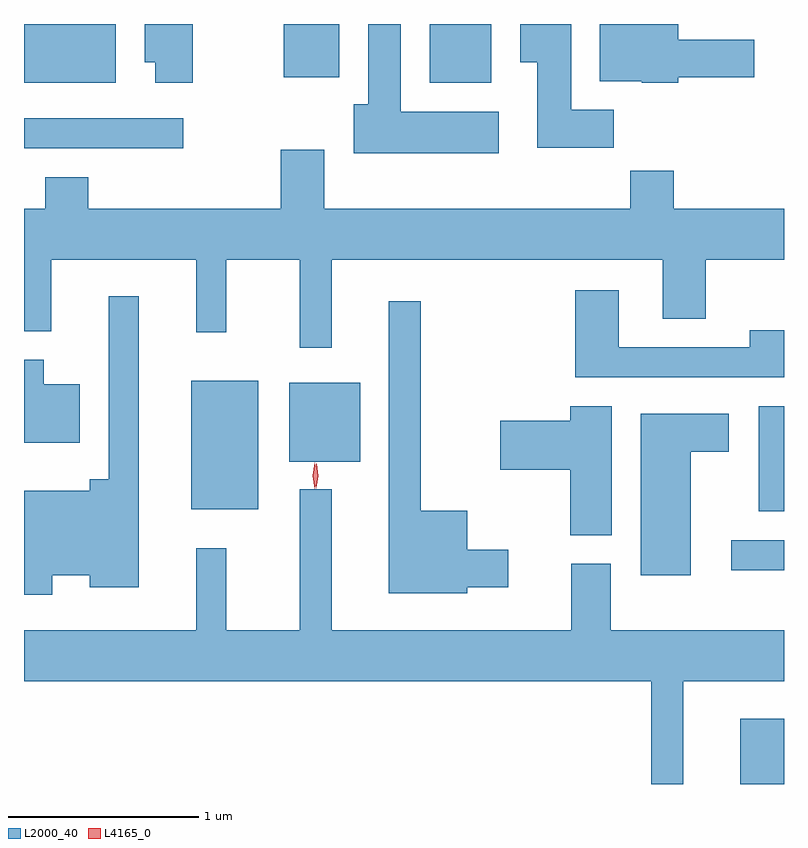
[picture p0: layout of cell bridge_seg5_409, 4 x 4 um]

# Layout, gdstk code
import gdstk
lib = gdstk.Library(unit=1e-6, precision=1e-09)
def R(c, l, rs):  # rectangles x0, y0, x1, y1
    for r in rs: c.add(gdstk.rectangle(r[:2], r[2:], *l))
def P(c, l, *ps):  # polygons
    for p in ps: c.add(gdstk.Polygon(p, *l))
L2000_40 = (2000, 40)
L4165_0 = (4165, 0)

bridge_seg5_409 = lib.new_cell('bridge_seg5_409')
R(bridge_seg5_409, L2000_40, [(240.611,1518.416,240.84,1518.759), (240.563,1519.541,240.84,1519.699), (240.706,1519.851,240.84,1520.404), (237.721,1519.861,238.074,1520.539), (238.236,1520.111,238.609,1520.529), (236.84,1521.761,237.678,1521.919), (236.841,1522.106,237.324,1522.416), (238.976,1522.106,239.299,1522.416), (238.206,1522.136,238.499,1522.416)])
P(bridge_seg5_409, L2000_40, [(240.284,1522.136),(240.684,1522.136),(240.684,1522.334),(240.284,1522.334),(240.284,1522.416),(239.871,1522.416),(239.871,1522.116),(240.09,1522.116),(240.09,1522.106),(240.284,1522.106)],
  [(239.339,1521.954),(238.824,1521.954),(238.824,1522.416),(238.651,1522.416),(238.651,1521.994),(238.576,1521.994),(238.576,1521.736),(239.339,1521.736)],
  [(237.729,1522.416),(237.476,1522.416),(237.476,1522.216),(237.531,1522.216),(237.531,1522.106),(237.729,1522.106)],
  [(239.944,1521.964),(239.719,1521.964),(239.719,1522.416),(239.451,1522.416),(239.451,1522.216),(239.541,1522.216),(239.541,1521.766),(239.944,1521.766)],
  [(236.951,1521.609),(236.951,1521.444),(236.84,1521.444),(236.84,1520.798),(236.984,1520.798),(236.984,1521.176),(237.746,1521.176),(237.746,1520.793),(237.904,1520.793),(237.904,1521.176),(238.291,1521.176),(238.291,1520.713),(238.459,1520.713),(238.459,1521.176),(240.201,1521.176),(240.201,1520.866),(240.429,1520.866),(240.429,1521.176),(240.84,1521.176),(240.84,1521.444),(240.259,1521.444),(240.259,1521.644),(240.031,1521.644),(240.031,1521.444),(238.419,1521.444),(238.419,1521.754),(238.191,1521.754),(238.191,1521.444),(237.179,1521.444),(237.179,1521.609)],
  [(240.84,1520.804),(240.661,1520.804),(240.661,1520.714),(239.969,1520.714),(239.969,1521.014),(239.741,1521.014),(239.741,1520.556),(240.84,1520.556)],
  [(236.989,1519.516),(237.186,1519.516),(237.186,1519.451),(237.444,1519.451),(237.444,1520.983),(237.286,1520.983),(237.286,1520.019),(237.186,1520.019),(237.186,1519.959),(236.84,1519.959),(236.84,1519.413),(236.989,1519.413)],
  [(239.174,1519.451),(239.389,1519.451),(239.389,1519.649),(239.174,1519.649),(239.174,1519.854),(238.929,1519.854),(238.929,1520.958),(238.761,1520.958),(238.761,1519.421),(239.174,1519.421)],
  [(237.134,1520.519),(236.944,1520.519),(236.944,1520.649),(236.84,1520.649),(236.84,1520.211),(237.134,1520.211)],
  [(239.934,1520.404),(239.716,1520.404),(239.716,1520.329),(239.346,1520.329),(239.346,1520.071),(239.716,1520.071),(239.716,1519.726),(239.934,1519.726)],
  [(240.349,1520.166),(240.549,1520.166),(240.549,1520.364),(240.086,1520.364),(240.086,1519.516),(240.349,1519.516)],
  [(240.141,1518.416),(240.309,1518.416),(240.309,1518.956),(240.84,1518.956),(240.84,1519.224),(239.929,1519.224),(239.929,1519.574),(239.721,1519.574),(239.721,1519.224),(238.459,1519.224),(238.459,1519.968),(238.291,1519.968),(238.291,1519.224),(237.904,1519.224),(237.904,1519.658),(237.746,1519.658),(237.746,1519.224),(236.84,1519.224),(236.84,1518.956),(240.141,1518.956)])
P(bridge_seg5_409, L4165_0, [(238.37,1519.969),(238.37,1519.97),(238.36,1520.038),(238.37,1520.106),(238.37,1520.106),(238.371,1520.106),(238.38,1520.038),(238.371,1519.97)],
  [(238.378,1519.973),(238.378,1519.973),(238.369,1520.038),(238.379,1520.101),(238.38,1520.102),(238.38,1520.101),(238.389,1520.037),(238.379,1519.973)])

lib.write_gds('bridge_seg5_409.gds')
